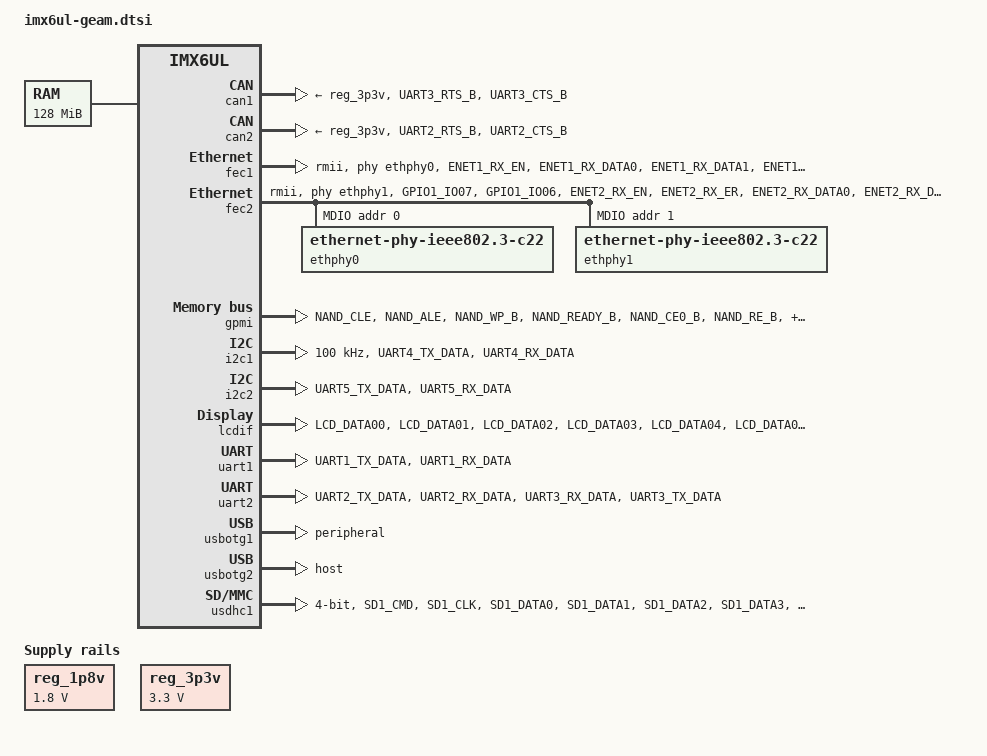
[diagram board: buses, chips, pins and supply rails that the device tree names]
/*
 * Copyright (C) 2016 Amarula Solutions B.V.
 * Copyright (C) 2016 Engicam S.r.l.
 *
 * This file is dual-licensed: you can use it either under the terms
 * of the GPL or the X11 license, at your option. Note that this dual
 * licensing only applies to this file, and not this project as a
 * whole.
 *
 *  a) This file is free software; you can redistribute it and/or
 *     modify it under the terms of the GNU General Public License
 *     version 2 as published by the Free Software Foundation.
 *
 *     This file is distributed in the hope that it will be useful,
 *     but WITHOUT ANY WARRANTY; without even the implied warranty of
 *     MERCHANTABILITY or FITNESS FOR A PARTICULAR PURPOSE.  See the
 *     GNU General Public License for more details.
 *
 * Or, alternatively,
 *
 *  b) Permission is hereby granted, free of charge, to any person
 *     obtaining a copy of this software and associated documentation
 *     files (the "Software"), to deal in the Software without
 *     restriction, including without limitation the rights to use,
 *     copy, modify, merge, publish, distribute, sublicense, and/or
 *     sell copies of the Software, and to permit persons to whom the
 *     Software is furnished to do so, subject to the following
 *     conditions:
 *
 *     The above copyright notice and this permission notice shall be
 *     included in all copies or substantial portions of the Software.
 *
 *     THE SOFTWARE IS PROVIDED "AS IS", WITHOUT WARRANTY OF ANY KIND,
 *     EXPRESS OR IMPLIED, INCLUDING BUT NOT LIMITED TO THE WARRANTIES
 *     OF MERCHANTABILITY, FITNESS FOR A PARTICULAR PURPOSE AND
 *     NONINFRINGEMENT. IN NO EVENT SHALL THE AUTHORS OR COPYRIGHT
 *     HOLDERS BE LIABLE FOR ANY CLAIM, DAMAGES OR OTHER LIABILITY,
 *     WHETHER IN AN ACTION OF CONTRACT, TORT OR OTHERWISE, ARISING
 *     FROM, OUT OF OR IN CONNECTION WITH THE SOFTWARE OR THE USE OR
 *     OTHER DEALINGS IN THE SOFTWARE.
 */

#include <dt-bindings/gpio/gpio.h>
#include <dt-bindings/input/input.h>
#include "imx6ul.dtsi"

/ {
	memory {
		reg = <0x80000000 0x08000000>;
	};

	chosen {
		stdout-path = &uart1;
	};

	reg_1p8v: regulator-1p8v {
		compatible = "regulator-fixed";
		regulator-name = "1P8V";
		regulator-min-microvolt = <1800000>;
		regulator-max-microvolt = <1800000>;
		regulator-always-on;
		regulator-boot-on;
	};

	reg_3p3v: regulator-3p3v {
		compatible = "regulator-fixed";
		regulator-name = "3P3V";
		regulator-min-microvolt = <3300000>;
		regulator-max-microvolt = <3300000>;
		regulator-always-on;
		regulator-boot-on;
	};
};

&can1 {
	pinctrl-names = "default";
	pinctrl-0 = <&pinctrl_flexcan1>;
	xceiver-supply = <&reg_3p3v>;
};

&can2 {
	pinctrl-names = "default";
	pinctrl-0 = <&pinctrl_flexcan2>;
	xceiver-supply = <&reg_3p3v>;
};

&fec1 {
	pinctrl-names = "default";
	pinctrl-0 = <&pinctrl_enet1>;
	phy-mode = "rmii";
	phy-handle = <&ethphy0>;
	status = "okay";
};

&fec2 {
	pinctrl-names = "default";
	pinctrl-0 = <&pinctrl_enet2>;
	phy-mode = "rmii";
	phy-handle = <&ethphy1>;
	status = "okay";

	mdio {
		#address-cells = <1>;
		#size-cells = <0>;

		ethphy0: ethernet-phy@0 {
			compatible = "ethernet-phy-ieee802.3-c22";
			reg = <0>;
		};

		ethphy1: ethernet-phy@1 {
			compatible = "ethernet-phy-ieee802.3-c22";
			reg = <1>;
		};
	};
};

&gpmi {
	pinctrl-names = "default";
	pinctrl-0 = <&pinctrl_gpmi_nand>;
	nand-on-flash-bbt;
	status = "okay";
};

&i2c1 {
	clock-frequency = <100000>;
	pinctrl-names = "default";
	pinctrl-0 = <&pinctrl_i2c1>;
	status = "okay";
};

&i2c2 {
	clock_frequency = <100000>;
	pinctrl-names = "default";
	pinctrl-0 = <&pinctrl_i2c2>;
	status = "okay";
};

&lcdif {
	pinctrl-names = "default";
	pinctrl-0 = <&pinctrl_lcdif_dat
		     &pinctrl_lcdif_ctrl>;
	display = <&display0>;
};

&tsc {
	pinctrl-names = "default";
	pinctrl-0 = <&pinctrl_tsc>;
	xnur-gpio = <&gpio1 3 GPIO_ACTIVE_LOW>;
};

&uart1 {
	pinctrl-names = "default";
	pinctrl-0 = <&pinctrl_uart1>;
	status = "okay";
};

&uart2 {
	pinctrl-names = "default";
	pinctrl-0 = <&pinctrl_uart2>;
	status = "okay";
};

&usbotg1 {
	dr_mode = "peripheral";
	status = "okay";
};

&usbotg2 {
	dr_mode = "host";
	status = "okay";
};

&usdhc1 {
	pinctrl-names = "default", "state_100mhz", "state_200mhz";
	pinctrl-0 = <&pinctrl_usdhc1>;
	pinctrl-1 = <&pinctrl_usdhc1_100mhz>;
	pinctrl-2 = <&pinctrl_usdhc1_200mhz>;
	bus-width = <4>;
	cd-gpios = <&gpio1 19 GPIO_ACTIVE_LOW>;
	no-1-8-v;
	status = "okay";
};

&iomuxc {
	pinctrl_enet1: enet1grp {
		fsl,pins = <
			MX6UL_PAD_ENET1_RX_EN__ENET1_RX_EN	0x1b0b0
			MX6UL_PAD_ENET1_RX_DATA0__ENET1_RDATA00	0x1b0b0
			MX6UL_PAD_ENET1_RX_DATA1__ENET1_RDATA01	0x1b0b0
			MX6UL_PAD_ENET1_TX_EN__ENET1_TX_EN	0x1b0b0
			MX6UL_PAD_ENET1_TX_DATA0__ENET1_TDATA00	0x1b0b0
			MX6UL_PAD_ENET1_TX_DATA1__ENET1_TDATA01	0x1b0b0
			MX6UL_PAD_ENET1_TX_CLK__ENET1_REF_CLK1	0x4001b031
		>;
	};

	pinctrl_enet2: enet2grp {
		fsl,pins = <
			MX6UL_PAD_GPIO1_IO07__ENET2_MDC		0x1b0b0
			MX6UL_PAD_GPIO1_IO06__ENET2_MDIO	0x1b0b0
			MX6UL_PAD_ENET2_RX_EN__ENET2_RX_EN	0x1b0b0
			MX6UL_PAD_ENET2_RX_ER__GPIO2_IO15	0x1b0b0		/* ENET_nRST */
			MX6UL_PAD_ENET2_RX_DATA0__ENET2_RDATA00	0x1b0b0
			MX6UL_PAD_ENET2_RX_DATA1__ENET2_RDATA01	0x1b0b0
			MX6UL_PAD_ENET2_TX_EN__ENET2_TX_EN	0x1b0b0
			MX6UL_PAD_ENET2_TX_DATA0__ENET2_TDATA00	0x1b0b0
			MX6UL_PAD_ENET2_TX_DATA1__ENET2_TDATA01	0x1b0b0
			MX6UL_PAD_GPIO1_IO05__ENET2_REF_CLK2	0x4001b031
		>;
	};

	pinctrl_flexcan1: flexcan1grp {
		fsl,pins = <
			MX6UL_PAD_UART3_RTS_B__FLEXCAN1_RX	0x1b020
			MX6UL_PAD_UART3_CTS_B__FLEXCAN1_TX	0x1b020
		>;
	};

	pinctrl_flexcan2: flexcan2grp {
		fsl,pins = <
			MX6UL_PAD_UART2_RTS_B__FLEXCAN2_RX	0x1b020
			MX6UL_PAD_UART2_CTS_B__FLEXCAN2_TX	0x1b020
		>;
	};

	pinctrl_gpmi_nand: gpmi-nand {
		fsl,pins = <
			MX6UL_PAD_NAND_CLE__RAWNAND_CLE         0xb0b1
			MX6UL_PAD_NAND_ALE__RAWNAND_ALE         0xb0b1
			MX6UL_PAD_NAND_WP_B__RAWNAND_WP_B       0xb0b1
			MX6UL_PAD_NAND_READY_B__RAWNAND_READY_B 0xb000
			MX6UL_PAD_NAND_CE0_B__RAWNAND_CE0_B     0xb0b1
			MX6UL_PAD_NAND_RE_B__RAWNAND_RE_B       0xb0b1
			MX6UL_PAD_NAND_WE_B__RAWNAND_WE_B       0xb0b1
			MX6UL_PAD_NAND_DATA00__RAWNAND_DATA00   0xb0b1
			MX6UL_PAD_NAND_DATA01__RAWNAND_DATA01   0xb0b1
			MX6UL_PAD_NAND_DATA02__RAWNAND_DATA02   0xb0b1
			MX6UL_PAD_NAND_DATA03__RAWNAND_DATA03   0xb0b1
			MX6UL_PAD_NAND_DATA04__RAWNAND_DATA04   0xb0b1
			MX6UL_PAD_NAND_DATA05__RAWNAND_DATA05   0xb0b1
			MX6UL_PAD_NAND_DATA06__RAWNAND_DATA06   0xb0b1
			MX6UL_PAD_NAND_DATA07__RAWNAND_DATA07   0xb0b1
		>;
	};

	pinctrl_i2c1: i2c1grp {
		fsl,pins = <
			MX6UL_PAD_UART4_TX_DATA__I2C1_SCL 0x4001b8b0
			MX6UL_PAD_UART4_RX_DATA__I2C1_SDA 0x4001b8b0
		>;
	};

	pinctrl_i2c2: i2c2grp {
			fsl,pins = <
			MX6UL_PAD_UART5_TX_DATA__I2C2_SCL 0x4001b8b0
			MX6UL_PAD_UART5_RX_DATA__I2C2_SDA 0x4001b8b0
		>;
	};

	pinctrl_lcdif_ctrl: lcdifctrlgrp {
		fsl,pins = <
			MX6UL_PAD_LCD_CLK__LCDIF_CLK	    0x79
			MX6UL_PAD_LCD_ENABLE__LCDIF_ENABLE  0x79
			MX6UL_PAD_LCD_HSYNC__LCDIF_HSYNC    0x79
			MX6UL_PAD_LCD_VSYNC__LCDIF_VSYNC    0x79
		>;
	};

	pinctrl_lcdif_dat: lcdifdatgrp {
		fsl,pins = <
			MX6UL_PAD_LCD_DATA00__LCDIF_DATA00  0x79
			MX6UL_PAD_LCD_DATA01__LCDIF_DATA01  0x79
			MX6UL_PAD_LCD_DATA02__LCDIF_DATA02  0x79
			MX6UL_PAD_LCD_DATA03__LCDIF_DATA03  0x79
			MX6UL_PAD_LCD_DATA04__LCDIF_DATA04  0x79
			MX6UL_PAD_LCD_DATA05__LCDIF_DATA05  0x79
			MX6UL_PAD_LCD_DATA06__LCDIF_DATA06  0x79
			MX6UL_PAD_LCD_DATA07__LCDIF_DATA07  0x79
			MX6UL_PAD_LCD_DATA08__LCDIF_DATA08  0x79
			MX6UL_PAD_LCD_DATA09__LCDIF_DATA09  0x79
			MX6UL_PAD_LCD_DATA10__LCDIF_DATA10  0x79
			MX6UL_PAD_LCD_DATA11__LCDIF_DATA11  0x79
			MX6UL_PAD_LCD_DATA12__LCDIF_DATA12  0x79
			MX6UL_PAD_LCD_DATA13__LCDIF_DATA13  0x79
			MX6UL_PAD_LCD_DATA14__LCDIF_DATA14  0x79
			MX6UL_PAD_LCD_DATA15__LCDIF_DATA15  0x79
			MX6UL_PAD_LCD_DATA16__LCDIF_DATA16  0x79
			MX6UL_PAD_LCD_DATA17__LCDIF_DATA17  0x79
		>;
	};

	pinctrl_tsc: tscgrp {
		fsl,pin = <
			MX6UL_PAD_GPIO1_IO01__GPIO1_IO01	0xb0
			MX6UL_PAD_GPIO1_IO02__GPIO1_IO02	0xb0
			MX6UL_PAD_GPIO1_IO03__GPIO1_IO03	0xb0
			MX6UL_PAD_GPIO1_IO04__GPIO1_IO04	0xb0
		>;
	};

	pinctrl_uart1: uart1grp {
		fsl,pins = <
			MX6UL_PAD_UART1_TX_DATA__UART1_DCE_TX 0x1b0b1
			MX6UL_PAD_UART1_RX_DATA__UART1_DCE_RX 0x1b0b1
		>;
	};

	pinctrl_uart2: uart2grp {
		fsl,pins = <
			MX6UL_PAD_UART2_TX_DATA__UART2_DCE_TX	0x1b0b1
			MX6UL_PAD_UART2_RX_DATA__UART2_DCE_RX	0x1b0b1
			MX6UL_PAD_UART3_RX_DATA__UART2_DCE_RTS	0x1b0b1
			MX6UL_PAD_UART3_TX_DATA__UART2_DCE_CTS	0x1b0b1
		>;
	};

	pinctrl_usdhc1: usdhc1grp {
		fsl,pins = <
			MX6UL_PAD_SD1_CMD__USDHC1_CMD     0x17059
			MX6UL_PAD_SD1_CLK__USDHC1_CLK     0x10059
			MX6UL_PAD_SD1_DATA0__USDHC1_DATA0 0x17059
			MX6UL_PAD_SD1_DATA1__USDHC1_DATA1 0x17059
			MX6UL_PAD_SD1_DATA2__USDHC1_DATA2 0x17059
			MX6UL_PAD_SD1_DATA3__USDHC1_DATA3 0x17059
		>;
	};

	pinctrl_usdhc1_100mhz: usdhc1grp100mhz {
		fsl,pins = <
			MX6UL_PAD_SD1_CMD__USDHC1_CMD     0x170b9
			MX6UL_PAD_SD1_CLK__USDHC1_CLK     0x100b9
			MX6UL_PAD_SD1_DATA0__USDHC1_DATA0 0x170b9
			MX6UL_PAD_SD1_DATA1__USDHC1_DATA1 0x170b9
			MX6UL_PAD_SD1_DATA2__USDHC1_DATA2 0x170b9
			MX6UL_PAD_SD1_DATA3__USDHC1_DATA3 0x170b9
		>;
	};

	pinctrl_usdhc1_200mhz: usdhc1grp200mhz {
		fsl,pins = <
			MX6UL_PAD_SD1_CMD__USDHC1_CMD     0x170f9
			MX6UL_PAD_SD1_CLK__USDHC1_CLK     0x100f9
			MX6UL_PAD_SD1_DATA0__USDHC1_DATA0 0x170f9
			MX6UL_PAD_SD1_DATA1__USDHC1_DATA1 0x170f9
			MX6UL_PAD_SD1_DATA2__USDHC1_DATA2 0x170f9
			MX6UL_PAD_SD1_DATA3__USDHC1_DATA3 0x170f9
		>;
	};

	pinctrl_usdhc2: usdhc2grp {
		fsl,pins = <
			MX6UL_PAD_CSI_VSYNC__USDHC2_CLK     0x17070
			MX6UL_PAD_CSI_HSYNC__USDHC2_CMD     0x10070
			MX6UL_PAD_CSI_DATA00__USDHC2_DATA0  0x17070
			MX6UL_PAD_CSI_DATA01__USDHC2_DATA1  0x17070
			MX6UL_PAD_CSI_DATA02__USDHC2_DATA2  0x17070
			MX6UL_PAD_CSI_DATA03__USDHC2_DATA3  0x17070
		>;
	};
};
